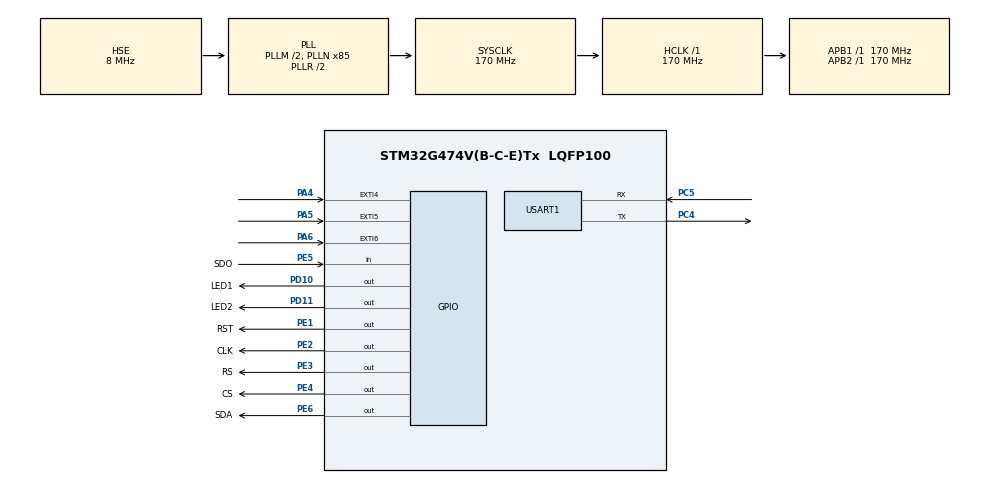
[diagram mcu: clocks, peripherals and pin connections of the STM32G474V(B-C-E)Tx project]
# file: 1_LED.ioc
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Dma.Request0=USART1_RX
Dma.Request1=USART1_TX
Dma.USART1_RX.0.Direction=DMA_PERIPH_TO_MEMORY
Dma.USART1_RX.0.EventEnable=DISABLE
Dma.USART1_RX.0.Instance=DMA1_Channel1
Dma.USART1_RX.0.MemDataAlignment=DMA_MDATAALIGN_BYTE
Dma.USART1_RX.0.MemInc=DMA_MINC_ENABLE
Dma.USART1_RX.0.Mode=DMA_CIRCULAR
Dma.USART1_RX.0.PeriphDataAlignment=DMA_PDATAALIGN_BYTE
Dma.USART1_RX.0.PeriphInc=DMA_PINC_DISABLE
Dma.USART1_RX.0.Polarity=HAL_DMAMUX_REQ_GEN_RISING
Dma.USART1_RX.0.Priority=DMA_PRIORITY_LOW
Dma.USART1_RX.0.RequestNumber=1
Dma.USART1_RX.0.SignalID=NONE
Dma.USART1_RX.0.SyncEnable=DISABLE
Dma.USART1_RX.0.SyncPolarity=HAL_DMAMUX_SYNC_NO_EVENT
Dma.USART1_RX.0.SyncRequestNumber=1
Dma.USART1_RX.0.SyncSignalID=NONE
Dma.USART1_TX.1.Direction=DMA_MEMORY_TO_PERIPH
Dma.USART1_TX.1.EventEnable=DISABLE
Dma.USART1_TX.1.Instance=DMA1_Channel2
Dma.USART1_TX.1.MemDataAlignment=DMA_MDATAALIGN_BYTE
Dma.USART1_TX.1.MemInc=DMA_MINC_ENABLE
Dma.USART1_TX.1.Mode=DMA_NORMAL
Dma.USART1_TX.1.PeriphDataAlignment=DMA_PDATAALIGN_BYTE
Dma.USART1_TX.1.PeriphInc=DMA_PINC_DISABLE
Dma.USART1_TX.1.Polarity=HAL_DMAMUX_REQ_GEN_RISING
Dma.USART1_TX.1.Priority=DMA_PRIORITY_LOW
Dma.USART1_TX.1.RequestNumber=1
Dma.USART1_TX.1.SignalID=NONE
Dma.USART1_TX.1.SyncEnable=DISABLE
Dma.USART1_TX.1.SyncPolarity=HAL_DMAMUX_SYNC_NO_EVENT
Dma.USART1_TX.1.SyncRequestNumber=1
Dma.USART1_TX.1.SyncSignalID=NONE
Mcu.Family=STM32G4
Mcu.Name=STM32G474V(B-C-E)Tx
Mcu.Package=LQFP100
NVIC.DMA1_Channel1_IRQn=true\:0\:0\:false\:false\:true\:true\:true\:true
NVIC.DMA1_Channel2_IRQn=true\:0\:0\:false\:false\:true\:true\:true\:true
NVIC.EXTI4_IRQn=true\:0\:0\:false\:false\:true\:true\:true\:true
NVIC.EXTI9_5_IRQn=true\:0\:0\:false\:false\:true\:true\:true\:true
NVIC.PriorityGroup=NVIC_PRIORITYGROUP_2
NVIC.USART1_IRQn=true\:0\:0\:false\:false\:true\:true\:true\:true
PA13.Mode=Serial_Wire
PA13.Signal=SYS_JTMS-SWDIO
PA14.Mode=Serial_Wire
PA14.Signal=SYS_JTCK-SWCLK
PA4.GPIO_ModeDefaultEXTI=GPIO_MODE_IT_FALLING
PA4.GPIO_PuPd=GPIO_PULLUP
PA4.Signal=GPXTI4
PA5.GPIO_ModeDefaultEXTI=GPIO_MODE_IT_FALLING
PA5.GPIO_PuPd=GPIO_PULLUP
PA5.Signal=GPXTI5
PA6.GPIO_ModeDefaultEXTI=GPIO_MODE_IT_FALLING
PA6.GPIO_PuPd=GPIO_PULLUP
PA6.Signal=GPXTI6
PC4.Mode=Asynchronous
PC4.Signal=USART1_TX
PC5.Mode=Asynchronous
PC5.Signal=USART1_RX
PD10.GPIO_Label=LED1
PD10.Signal=GPIO_Output
PD11.GPIO_Label=LED2
PD11.Signal=GPIO_Output
PE1.GPIO_Label=RST
PE1.Signal=GPIO_Output
PE2.GPIO_Label=CLK
PE2.GPIO_Speed=GPIO_SPEED_FREQ_VERY_HIGH
PE2.Signal=GPIO_Output
PE3.GPIO_Label=RS
PE3.Signal=GPIO_Output
PE4.GPIO_Label=CS
PE4.GPIO_PuPd=GPIO_PULLUP
PE4.GPIO_Speed=GPIO_SPEED_FREQ_HIGH
PE4.PinState=GPIO_PIN_SET
PE4.Signal=GPIO_Output
PE5.GPIO_Label=SDO
PE5.Signal=GPIO_Input
PE6.GPIO_Label=SDA
PE6.GPIO_Speed=GPIO_SPEED_FREQ_VERY_HIGH
PE6.Signal=GPIO_Output
PF0-OSC_IN.Mode=HSE-External-Oscillator
PF0-OSC_IN.Signal=RCC_OSC_IN
PF1-OSC_OUT.Mode=HSE-External-Oscillator
PF1-OSC_OUT.Signal=RCC_OSC_OUT
ProjectManager.HeapSize=0x200
ProjectManager.StackSize=0x400
ProjectManager.TargetToolchain=MDK-ARM V5.32
RCC.ADC12Freq_Value=170000000
RCC.ADC345Freq_Value=170000000
RCC.AHBFreq_Value=170000000
RCC.APB1Freq_Value=170000000
RCC.APB1TimFreq_Value=170000000
RCC.APB2Freq_Value=170000000
RCC.APB2TimFreq_Value=170000000
RCC.CortexFreq_Value=170000000
RCC.EXTERNAL_CLOCK_VALUE=12288000
RCC.HCLKFreq_Value=170000000
RCC.HSE_VALUE=8000000
RCC.HSI48_VALUE=48000000
RCC.HSI_VALUE=16000000
RCC.LSE_VALUE=32768
RCC.PLLM=RCC_PLLM_DIV2
RCC.PLLN=85
RCC.PLLSourceVirtual=RCC_PLLSOURCE_HSE
RCC.SYSCLKFreq_VALUE=170000000
RCC.SYSCLKSource=RCC_SYSCLKSOURCE_PLLCLK
RCC.USBFreq_Value=170000000
RCC.VCOOutputFreq_Value=340000000
USART1.VirtualMode-Asynchronous=VM_ASYNC
VP_SYS_VS_DBSignals.Mode=DisableDeadBatterySignals
board=custom

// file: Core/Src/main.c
/* USER CODE BEGIN Header */
/**
  ******************************************************************************
  * @file           : main.c
  * @brief          : Main program body
  ******************************************************************************
  * @attention
  *
  * Copyright (c) 2024 STMicroelectronics.
  * All rights reserved.
  *
  * This software is licensed under terms that can be found in the LICENSE file
  * in the root directory of this software component.
  * If no LICENSE file comes with this software, it is provided AS-IS.
  *
  ******************************************************************************
  */
/* USER CODE END Header */
#include "main.h"
#include "dma.h"
#include "usart.h"
#include "dma.h"
#include "gpio.h"
/* USER CODE BEGIN Includes */
#include "LED.h"
#include "LCD.h"
//#include "key.h"
#include "math.h"
#include "insect.h"
#include "stdio.h"
#include "string.h"

/* USER CODE END Includes */

void SystemClock_Config(void);

/* USER CODE BEGIN 0 */

// 全局变量
uint8_t mode = 0;
uint8_t receivedData[50];
uint8_t sendData[50];
uint8_t UART_temp1[5]="A55A0";
uint8_t UART_temp2[11], UART_temp3[5];
int sign = 1;
// 初始化函数

void SystemClock_Config(void);
void MX_GPIO_Init(void);
void MX_DMA_Init(void);
void MX_USART1_UART_Init(void);
void MX_LCD_Init(void);

typedef enum {
    NONE,
    KEY1,
    KEY2,
    KEY3
} KeyPress_t;

volatile KeyPress_t currentKeyPress = NONE;

// 按键中断处理函数
void HAL_GPIO_EXTI_Callback(uint16_t GPIO_Pin)
{

}
uint8_t UART_temp;
uint8_t uart_dma_temp_rx[19];
uint8_t uart_dma_temp_tx[38];

/* USER CODE END 0 */

int main(void)
{  /* USER CODE BEGIN 1 */

	 /* USER CODE END 1 */

  /* MCU Configuration--------------------------------------------------------*/

  /* Reset of all peripherals, Initializes the Flash interface and the Systick. */
  HAL_Init();

  /* Configure the system clock */
  SystemClock_Config();

  /* Initialize all configured peripherals */
  MX_GPIO_Init();
  MX_DMA_Init();
  MX_USART1_UART_Init();
  /* USER CODE BEGIN 2 */
	HAL_UART_Receive(&huart1,UART_temp1,255,1);
	LCD_Initial();
	Lcd_ColorBox(0,0,XSIZE_PHYS,YSIZE_PHYS,Blue);
	Lcd_ColorBox(0,0,XSIZE_PHYS,YSIZE_PHYS,Red);
	BlockWrite(0,400,0,400);

	int i,j;
	const unsigned char*  pic;
	int x = 0;
	int y = 0; //guang biao bian liang
	int num=0;
	unsigned char key_value;
	uint8_t receivedData = 0;

	//8.menu
	Lcd_ColorBox(0,0,XSIZE_PHYS,YSIZE_PHYS,White);
	HAL_Delay(200);

   // 显示功能界面1
	LCD_PutString(30,60,"system of chuankou tongxin",Red,White,0 );
	LCD_PutString(30,90,"liu fenyi 20221071001",Red,White,0 );
	LCD_PutString(30,130,"ma xinyu 20221071001",Red,White,0 );
	LCD_PutString(30,170,"yu changjiang 20221071001",Red,White,0 );
  LCD_PutString(70,220,"mode 0",Red,White,0 );

  /* USER CODE END 2 */

  /* Infinite loop */
  /* USER CODE BEGIN WHILE */

 while (1)     //大while
 {
		// 主循环，根据按键和串口接收的数据进行不同的操作
        // 这里省略具体的实现逻辑
	 int num=0;
	if (HAL_GPIO_ReadPin(GPIOA,GPIO_PIN_4) == 0) // 按键1,进行模式循环切换，分别为模式0123，
    {
							Lcd_ColorBox(0,0,XSIZE_PHYS,YSIZE_PHYS,White);
        mode = (mode + 1) % 4;
        switch (mode)
        {
        case 0:
						LED_ALL_OFF();
				    LCD_PutString(50,60,"mode 0",Red,White,0 );
            break;
        case 1:
					LED_red_ON();
				    LCD_PutString(50,80,"mode 1",Red,White,0 );
            HAL_UART_Transmit(&huart1, (uint8_t *)"KEY1 Press!\n", 12, HAL_MAX_DELAY);
            sprintf((char *)sendData, "A55A20221071001A5A5");
            HAL_UART_Transmit(&huart1, sendData, strlen((char *)sendData), HAL_MAX_DELAY);
            break;
        case 2:
					LED_green_ON();
				    LCD_PutString(50,100,"mode 2",Red,White,0 );
            HAL_UART_Transmit(&huart1, (uint8_t *)"KEY2 Press!\n", 12, HAL_MAX_DELAY);
            sprintf((char *)sendData, "A55A20221071002A5A5");
            HAL_UART_Transmit(&huart1, sendData, strlen((char *)sendData), HAL_MAX_DELAY);
            break;
        case 3:
					LED_ALL_ON();
            LCD_PutString(50,120,"mode 3",Red,White,0 );
				HAL_UART_Transmit(&huart1, (uint8_t *)"KEY3 Press!\n", 12, HAL_MAX_DELAY);
            sprintf((char *)sendData, "A55A20221071003A5A5");
            HAL_UART_Transmit(&huart1, sendData, strlen((char *)sendData), HAL_MAX_DELAY);
            break;
        }
    }
    else if (HAL_GPIO_ReadPin(GPIOA,GPIO_PIN_5) == 0) // 按键2
    {
			uint8_t a_1[12] = "KEY1 Press!", b_1[22] = "A55A 20221071116 A5A5",
	    a_2[12] = "KEY2 Press!", b_2[22] = "A55A 20221071117 A5A5",
	    a_3[12] = "KEY3 Press!", b_3[22] = "A55A 20221071222 A5A5",
	    d[19] = "Data Format Error!",
	    num_1[11] = "20221071116", num_2[11] = "20221071117", num_3[11] = "20221071222",
	    num_4[5] = "A55AA";
        // 切换到功能界面2
			Lcd_ColorBox(0,0,XSIZE_PHYS,YSIZE_PHYS,White);
			LCD_PutString(50,120,"system of chuankou tongxin",Red,White,0 );
			LCD_PutString(50,140,"Receiving data...",Red,White,0 );
			while(1)
			{

        //LCD_DisplayStringLine(0, "串口通信系统");

				if(HAL_UART_Receive(&huart1,UART_temp1,5,1) == HAL_OK)
		{

			HAL_UART_Receive(&huart1,UART_temp2,11,1);
			HAL_UART_Receive(&huart1,UART_temp3,5,1);
			Lcd_ColorBox(0, 0, 240, 320, White);

			if(memcmp(UART_temp2, num_1, 11) == 0)
			{
				HAL_UART_Transmit(&huart1,UART_temp2,11,1);
				Lcd_ColorBox(0,0,XSIZE_PHYS,YSIZE_PHYS,White);
	      LCD_PutString(50,60,"Liu Fenyi",Red,White,0);
	      LCD_PutString(50,100,"20221071116",Red,White,0);
				//	LCD_Fill_Pic(50,130,120,120, piclfy);

			}
			else if(memcmp(UART_temp2, num_2, 11) == 0)
			{
				HAL_UART_Transmit(&huart1,UART_temp2,11,1);
				Lcd_ColorBox(0,0,XSIZE_PHYS,YSIZE_PHYS,White);
		    LCD_PutString(50,60,"Ma Xinyu",Red,White,0);
				//		LCD_Fill_Pic(50,130,120,120, picmxy);
		    LCD_PutString(50,100,"20221071117",Red,White,0);
			}
			else if(memcmp(UART_temp2, num_3, 11) == 0)
			{
				HAL_UART_Transmit(&huart1,UART_temp2,11,1);
				Lcd_ColorBox(0,0,XSIZE_PHYS,YSIZE_PHYS,White);
		    LCD_PutString(50,45,"Yu Changjiang",Red,White,0);
		    LCD_PutString(50,60,"20221071222",Red,White,0);
								//		LCD_Fill_Pic(50,130,120,120, picycj);//转换界面效果
			}
			else if(memcmp(UART_temp1, num_4, 5) == 0)
			{
 // 显示功能界面1
	LCD_PutString(30,60,"system of chuankou tongxin",Red,White,0 );
	LCD_PutString(30,90,"liu fenyi 20221071001",Red,White,0 );
	LCD_PutString(30,130,"ma xinyu 20221071001",Red,White,0 );
	LCD_PutString(30,170,"yu changjiang 20221071001",Red,White,0 );
  LCD_PutString(70,220,"mode 0",Red,White,0 );
				break;
			}
			else
			{
				HAL_UART_Transmit(&huart1,UART_temp1,5,1);
				HAL_UART_Transmit(&huart1,UART_temp2,11,1);
				HAL_UART_Transmit(&huart1,UART_temp3,5,1);
				HAL_Delay(500);
				HAL_UART_Transmit(&huart1,d,18,1);
				HAL_Delay(500);
				Lcd_ColorBox(0,0,XSIZE_PHYS,YSIZE_PHYS,White);
			  LCD_PutString(50,120,"system of chuankou tongxin",Red,White,0 );
			  LCD_PutString(50,140,"Receiving data...",Red,White,0 );
			}
			HAL_UART_Receive(&huart1,UART_temp1,255,1);
			}
    }
	}

		else if (HAL_GPIO_ReadPin(GPIOA,GPIO_PIN_6) == 0) // 按键3
    {
        // 切换到功能界面4
        // 这里省略具体的实现逻辑

		while (1)     //大while
    {
		// 主循环，根据按键和串口接收的数据进行不同的操作
        // 这里省略具体的实现逻辑

        if (mode == 1) {
					  Lcd_ColorBox(0,0,XSIZE_PHYS,YSIZE_PHYS,White);
            //LCD_PutString(20,20,"A",Red,White,0);
						LCD_Fill_Pic(20,20,120,120, picA);
					while(1)
					{
						uint8_t receivedData = 9;
						HAL_UART_Receive(&huart1, &receivedData, 1, HAL_MAX_DELAY);
            if (receivedData == 0x02&&num==0)
							{
								num=num+1;
								 Lcd_ColorBox(0,0,XSIZE_PHYS,YSIZE_PHYS,White);
								LCD_Fill_Pic(20,20,120,120, pic2);
								break;
						  }
					 }

					 while(1)
					{
						uint8_t receivedData = 9;
						HAL_UART_Receive(&huart1, &receivedData, 1, HAL_MAX_DELAY);
            if (receivedData == 0x00&&num==1)
							{
								num=num+1;
								 Lcd_ColorBox(0,0,XSIZE_PHYS,YSIZE_PHYS,White);
								LCD_Fill_Pic(20,20,120,120, pic0);
								break;
						  }
					 }

					 while(1)
					{
						uint8_t receivedData = 9;
						HAL_UART_Receive(&huart1, &receivedData, 1, HAL_MAX_DELAY);
            if (receivedData == 0x02&&num==2)
							{
								num=num+1;
								 Lcd_ColorBox(0,0,XSIZE_PHYS,YSIZE_PHYS,White);
								LCD_Fill_Pic(20,20,120,120, pic2);
								break;
						  }
					 }

					 while(1)
					{
						uint8_t receivedData = 9;
						HAL_UART_Receive(&huart1, &receivedData, 1, HAL_MAX_DELAY);
            if (receivedData == 0x02&&num==3)
							{
								num=num+1;
								 Lcd_ColorBox(0,0,XSIZE_PHYS,YSIZE_PHYS,White);
								LCD_Fill_Pic(20,20,120,120, pic2);
								break;
						  }
					 }

					 while(1)
					{
						uint8_t receivedData = 9;
						HAL_UART_Receive(&huart1, &receivedData, 1, HAL_MAX_DELAY);
            if (receivedData == 0x01&&num==4)
							{
								num=num+1;
								 Lcd_ColorBox(0,0,XSIZE_PHYS,YSIZE_PHYS,White);
								LCD_Fill_Pic(20,20,120,120, pic1);
								break;
						  }
					 }

					 while(1)
					{
						uint8_t receivedData = 9;
						HAL_UART_Receive(&huart1, &receivedData, 1, HAL_MAX_DELAY);
            if (receivedData == 0x00&&num==5)
							{
								num=num+1;
								 Lcd_ColorBox(0,0,XSIZE_PHYS,YSIZE_PHYS,White);
								LCD_Fill_Pic(20,20,120,120, pic0);
								break;
						  }
					 }

					 while(1)
					{
						uint8_t receivedData = 9;
						HAL_UART_Receive(&huart1, &receivedData, 1, HAL_MAX_DELAY);
            if (receivedData == 0x07&&num==6)
							{
								num=num+1;
								 Lcd_ColorBox(0,0,XSIZE_PHYS,YSIZE_PHYS,White);
								LCD_Fill_Pic(20,20,120,120, pic7);
								break;
						  }
					 }

					 while(1)
					{
						uint8_t receivedData = 9;
						HAL_UART_Receive(&huart1, &receivedData, 1, HAL_MAX_DELAY);
            if (receivedData == 0x01&&num==7)
							{
								num=num+1;
								 Lcd_ColorBox(0,0,XSIZE_PHYS,YSIZE_PHYS,White);
								LCD_Fill_Pic(20,20,120,120, pic1);
								break;
						  }
					 }

					 while(1)
					{
						uint8_t receivedData = 9;
						HAL_UART_Receive(&huart1, &receivedData, 1, HAL_MAX_DELAY);
            if (receivedData == 0x01&&num==8)
							{
								num=num+1;
								 Lcd_ColorBox(0,0,XSIZE_PHYS,YSIZE_PHYS,White);
								LCD_Fill_Pic(20,20,120,120, pic1);
								break;
						  }
					 }

					 while(1)
					{
						uint8_t receivedData = 9;
						HAL_UART_Receive(&huart1, &receivedData, 1, HAL_MAX_DELAY);
            if (receivedData == 0x01&&num==9)
							{
								num=num+1;
								 Lcd_ColorBox(0,0,XSIZE_PHYS,YSIZE_PHYS,White);
								LCD_Fill_Pic(20,20,120,120, pic1);
								break;
						  }
					 }

					 while(1)
					{
						uint8_t receivedData = 9;
						HAL_UART_Receive(&huart1, &receivedData, 1, HAL_MAX_DELAY);
            if (receivedData == 0x06&&num==10)
							{
								num=num+1;
								 Lcd_ColorBox(0,0,XSIZE_PHYS,YSIZE_PHYS,White);
								LCD_Fill_Pic(20,20,120,120, pic6);
								break;
						  }
					 }
					if(num==11)
					{
						 Lcd_ColorBox(0,0,XSIZE_PHYS,YSIZE_PHYS,White);
						//gongnengzhanshi
							Lcd_ColorBox(0,0,XSIZE_PHYS,YSIZE_PHYS,White);
							LCD_PutString(50,60,"Liu Fenyi",Red,White,0);
							LCD_PutString(50,100,"20221071116",Red,White,0);
							LCD_Fill_Pic(50,130,120,120, piclfy);
							mode=0;
						num=0;
							HAL_Delay(500);
					}

				}

				//展示马新宇的信息
        if (mode == 2) {
					  Lcd_ColorBox(0,0,XSIZE_PHYS,YSIZE_PHYS,White);
						LCD_Fill_Pic(20,20,120,120, picB);
					while(1)
					{
						uint8_t receivedData = 9;
						HAL_UART_Receive(&huart1, &receivedData, 1, HAL_MAX_DELAY);
            if (receivedData == 0x02&&num==0)
							{
								num=num+1;
								 Lcd_ColorBox(0,0,XSIZE_PHYS,YSIZE_PHYS,White);
								LCD_Fill_Pic(20,20,120,120, pic2);
								break;
						  }
					 }

					 while(1)
					{
						uint8_t receivedData = 9;
						HAL_UART_Receive(&huart1, &receivedData, 1, HAL_MAX_DELAY);
            if (receivedData == 0x00&&num==1)
							{
								num=num+1;
								 Lcd_ColorBox(0,0,XSIZE_PHYS,YSIZE_PHYS,White);
								LCD_Fill_Pic(20,20,120,120, pic0);
								break;
						  }
					 }

					 while(1)
					{
						uint8_t receivedData = 9;
						HAL_UART_Receive(&huart1, &receivedData, 1, HAL_MAX_DELAY);
            if (receivedData == 0x02&&num==2)
							{
								num=num+1;
								 Lcd_ColorBox(0,0,XSIZE_PHYS,YSIZE_PHYS,White);
								LCD_Fill_Pic(20,20,120,120, pic2);
								break;
						  }
					 }

					 while(1)
					{
						uint8_t receivedData = 9;
						HAL_UART_Receive(&huart1, &receivedData, 1, HAL_MAX_DELAY);
            if (receivedData == 0x02&&num==3)
							{
								num=num+1;
								 Lcd_ColorBox(0,0,XSIZE_PHYS,YSIZE_PHYS,White);
								LCD_Fill_Pic(20,20,120,120, pic2);
								break;
						  }
					 }

					 while(1)
					{
						uint8_t receivedData = 9;
						HAL_UART_Receive(&huart1, &receivedData, 1, HAL_MAX_DELAY);
            if (receivedData == 0x01&&num==4)
							{
								num=num+1;
								 Lcd_ColorBox(0,0,XSIZE_PHYS,YSIZE_PHYS,White);
								LCD_Fill_Pic(20,20,120,120, pic1);
								break;
						  }
					 }

					 while(1)
					{
						uint8_t receivedData = 9;
						HAL_UART_Receive(&huart1, &receivedData, 1, HAL_MAX_DELAY);
            if (receivedData == 0x00&&num==5)
							{
								num=num+1;
								 Lcd_ColorBox(0,0,XSIZE_PHYS,YSIZE_PHYS,White);
								LCD_Fill_Pic(20,20,120,120, pic0);
								break;
						  }
					 }

					 while(1)
					{
						uint8_t receivedData = 9;
						HAL_UART_Receive(&huart1, &receivedData, 1, HAL_MAX_DELAY);
            if (receivedData == 0x07&&num==6)
							{
								num=num+1;
								 Lcd_ColorBox(0,0,XSIZE_PHYS,YSIZE_PHYS,White);
								LCD_Fill_Pic(20,20,120,120, pic7);
								break;
						  }
					 }

					 while(1)
					{
						uint8_t receivedData = 9;
						HAL_UART_Receive(&huart1, &receivedData, 1, HAL_MAX_DELAY);
            if (receivedData == 0x01&&num==7)
							{
								num=num+1;
								 Lcd_ColorBox(0,0,XSIZE_PHYS,YSIZE_PHYS,White);
								LCD_Fill_Pic(20,20,120,120, pic1);
								break;
						  }
					 }

					 while(1)
					{
						uint8_t receivedData = 9;
						HAL_UART_Receive(&huart1, &receivedData, 1, HAL_MAX_DELAY);
            if (receivedData == 0x01&&num==8)
							{
								num=num+1;
								 Lcd_ColorBox(0,0,XSIZE_PHYS,YSIZE_PHYS,White);
								LCD_Fill_Pic(20,20,120,120, pic1);
								break;
						  }
					 }

					 while(1)
					{
						uint8_t receivedData = 9;
						HAL_UART_Receive(&huart1, &receivedData, 1, HAL_MAX_DELAY);
            if (receivedData == 0x01&&num==9)
							{
								num=num+1;
								 Lcd_ColorBox(0,0,XSIZE_PHYS,YSIZE_PHYS,White);
								LCD_Fill_Pic(20,20,120,120, pic1);
								break;
						  }
					 }

					 while(1)
					{
						uint8_t receivedData = 9;
						HAL_UART_Receive(&huart1, &receivedData, 1, HAL_MAX_DELAY);
            if (receivedData == 0x07&&num==10)
							{
								num=num+1;
								 Lcd_ColorBox(0,0,XSIZE_PHYS,YSIZE_PHYS,White);
								LCD_Fill_Pic(20,20,120,120, pic7);
								break;
						  }
					 }
					if(num==11)
					{
						 Lcd_ColorBox(0,0,XSIZE_PHYS,YSIZE_PHYS,White);
						//gongnengzhanshi
							Lcd_ColorBox(0,0,XSIZE_PHYS,YSIZE_PHYS,White);
							LCD_PutString(50,60,"MA Xinyu",Red,White,0);
							LCD_PutString(50,100,"20221071117",Red,White,0);
							LCD_Fill_Pic(50,130,120,120, picmxy);
							mode=0;
						num = 0;
							HAL_Delay(500);
					}

				}

				//展示于长江的信息
        if (mode == 3) {
					  Lcd_ColorBox(0,0,XSIZE_PHYS,YSIZE_PHYS,White);
            //LCD_PutString(20,20,"A",Red,White,0);
						LCD_Fill_Pic(20,20,120,120, picC);
					while(1)
					{
						uint8_t receivedData = 9;
						HAL_UART_Receive(&huart1, &receivedData, 1, HAL_MAX_DELAY);
            if (receivedData == 0x02&&num==0)
							{
								num=num+1;
								 Lcd_ColorBox(0,0,XSIZE_PHYS,YSIZE_PHYS,White);
								LCD_Fill_Pic(20,20,120,120, pic2);
								break;
						  }
					 }

					 while(1)
					{
						uint8_t receivedData = 9;
						HAL_UART_Receive(&huart1, &receivedData, 1, HAL_MAX_DELAY);
            if (receivedData == 0x00&&num==1)
							{
								num=num+1;
								 Lcd_ColorBox(0,0,XSIZE_PHYS,YSIZE_PHYS,White);
								LCD_Fill_Pic(20,20,120,120, pic0);
								break;
						  }
					 }

					 while(1)
					{
						uint8_t receivedData = 9;
						HAL_UART_Receive(&huart1, &receivedData, 1, HAL_MAX_DELAY);
            if (receivedData == 0x02&&num==2)
							{
								num=num+1;
								 Lcd_ColorBox(0,0,XSIZE_PHYS,YSIZE_PHYS,White);
								LCD_Fill_Pic(20,20,120,120, pic2);
								break;
						  }
					 }

					 while(1)
					{
						uint8_t receivedData = 9;
						HAL_UART_Receive(&huart1, &receivedData, 1, HAL_MAX_DELAY);
            if (receivedData == 0x02&&num==3)
							{
								num=num+1;
								 Lcd_ColorBox(0,0,XSIZE_PHYS,YSIZE_PHYS,White);
								LCD_Fill_Pic(20,20,120,120, pic2);
								break;
						  }
					 }

					 while(1)
					{
						uint8_t receivedData = 9;
						HAL_UART_Receive(&huart1, &receivedData, 1, HAL_MAX_DELAY);
            if (receivedData == 0x01&&num==4)
							{
								num=num+1;
								 Lcd_ColorBox(0,0,XSIZE_PHYS,YSIZE_PHYS,White);
								LCD_Fill_Pic(20,20,120,120, pic1);
								break;
						  }
					 }

					 while(1)
					{
						uint8_t receivedData = 9;
						HAL_UART_Receive(&huart1, &receivedData, 1, HAL_MAX_DELAY);
            if (receivedData == 0x00&&num==5)
							{
								num=num+1;
								 Lcd_ColorBox(0,0,XSIZE_PHYS,YSIZE_PHYS,White);
								LCD_Fill_Pic(20,20,120,120, pic0);
								break;
						  }
					 }

					 while(1)
					{
						uint8_t receivedData = 9;
						HAL_UART_Receive(&huart1, &receivedData, 1, HAL_MAX_DELAY);
            if (receivedData == 0x07&&num==6)
							{
								num=num+1;
								 Lcd_ColorBox(0,0,XSIZE_PHYS,YSIZE_PHYS,White);
								LCD_Fill_Pic(20,20,120,120, pic7);
								break;
						  }
					 }

					 while(1)
					{
						uint8_t receivedData = 9;
						HAL_UART_Receive(&huart1, &receivedData, 1, HAL_MAX_DELAY);
            if (receivedData == 0x01&&num==7)
							{
								num=num+1;
								 Lcd_ColorBox(0,0,XSIZE_PHYS,YSIZE_PHYS,White);
								LCD_Fill_Pic(20,20,120,120, pic1);
								break;
						  }
					 }

					 while(1)
					{
						uint8_t receivedData = 9;
						HAL_UART_Receive(&huart1, &receivedData, 1, HAL_MAX_DELAY);
            if (receivedData == 0x02&&num==8)
							{
								num=num+1;
								 Lcd_ColorBox(0,0,XSIZE_PHYS,YSIZE_PHYS,White);
								LCD_Fill_Pic(20,20,120,120, pic2);
								break;
						  }
					 }

					 while(1)
					{
						uint8_t receivedData = 9;
						HAL_UART_Receive(&huart1, &receivedData, 1, HAL_MAX_DELAY);
            if (receivedData == 0x02&&num==9)
							{
								num=num+1;
								 Lcd_ColorBox(0,0,XSIZE_PHYS,YSIZE_PHYS,White);
								LCD_Fill_Pic(20,20,120,120, pic2);
								break;
						  }
					 }

					 while(1)
					{
						uint8_t receivedData = 9;
						HAL_UART_Receive(&huart1, &receivedData, 1, HAL_MAX_DELAY);
            if (receivedData == 0x02&&num==10)
							{
								num=num+1;
								 Lcd_ColorBox(0,0,XSIZE_PHYS,YSIZE_PHYS,White);
								LCD_Fill_Pic(20,20,120,120, pic2);
								break;
						  }
					 }
					if(num==11)
					{
						 Lcd_ColorBox(0,0,XSIZE_PHYS,YSIZE_PHYS,White);
						//gongnengzhanshi
							Lcd_ColorBox(0,0,XSIZE_PHYS,YSIZE_PHYS,White);
							LCD_PutString(50,60,"YU changjiang",Red,White,0);
							LCD_PutString(50,100,"20221071222",Red,White,0);
							LCD_Fill_Pic(50,130,120,120, picycj);
						num=0;
							mode=0;
							HAL_Delay(500);
					}

				}

				break;
			}
		}

   // 模式2和模式3处理类似
        // 模式2和模式3处理类似

  /* USER CODE END 3 */
 }
 }

void SystemClock_Config(void)
{
  RCC_OscInitTypeDef RCC_OscInitStruct = {0};
  RCC_ClkInitTypeDef RCC_ClkInitStruct = {0};

  /** Configure the main internal regulator output voltage
  */
  HAL_PWREx_ControlVoltageScaling(PWR_REGULATOR_VOLTAGE_SCALE1_BOOST);

  /** Initializes the RCC Oscillators according to the specified parameters
  * in the RCC_OscInitTypeDef structure.
  */
  RCC_OscInitStruct.OscillatorType = RCC_OSCILLATORTYPE_HSE;
  RCC_OscInitStruct.HSEState = RCC_HSE_ON;
  RCC_OscInitStruct.PLL.PLLState = RCC_PLL_ON;
  RCC_OscInitStruct.PLL.PLLSource = RCC_PLLSOURCE_HSE;
  RCC_OscInitStruct.PLL.PLLM = RCC_PLLM_DIV2;
  RCC_OscInitStruct.PLL.PLLN = 85;
  RCC_OscInitStruct.PLL.PLLP = RCC_PLLP_DIV2;
  RCC_OscInitStruct.PLL.PLLQ = RCC_PLLQ_DIV2;
  RCC_OscInitStruct.PLL.PLLR = RCC_PLLR_DIV2;
  if (HAL_RCC_OscConfig(&RCC_OscInitStruct) != HAL_OK)
  {
    Error_Handler();
  }

  /** Initializes the CPU, AHB and APB buses clocks
  */
  RCC_ClkInitStruct.ClockType = RCC_CLOCKTYPE_HCLK|RCC_CLOCKTYPE_SYSCLK
                              |RCC_CLOCKTYPE_PCLK1|RCC_CLOCKTYPE_PCLK2;
  RCC_ClkInitStruct.SYSCLKSource = RCC_SYSCLKSOURCE_PLLCLK;
  RCC_ClkInitStruct.AHBCLKDivider = RCC_SYSCLK_DIV1;
  RCC_ClkInitStruct.APB1CLKDivider = RCC_HCLK_DIV1;
  RCC_ClkInitStruct.APB2CLKDivider = RCC_HCLK_DIV1;

  if (HAL_RCC_ClockConfig(&RCC_ClkInitStruct, FLASH_LATENCY_4) != HAL_OK)
  {
    Error_Handler();
  }
}

/* USER CODE BEGIN 4 */
//外部中断处理
// 串口接收中断处理函数
/*
void HAL_UART_RxCpltCallback(UART_HandleTypeDef *huart)
{
	if (huart->Instance == USART1)
    {
        if (strncmp((char *)receivedData, "A55A", 4) == 0 && strncmp((char *)(receivedData + 14), "A5A5", 4) == 0)
        {
            // 收到正确数据
            //LCD_Clear();
						Lcd_ColorBox(0,0,XSIZE_PHYS,YSIZE_PHYS,White);
							LCD_PutString(50,200,"收到正确数据",Red,White,0 );

					if (strncmp((char *)(receivedData + 4), "20221071001", 11) == 0)
            {
							LCD_PutString(50,200,"zhangsan",Red,White,0 );
            }
            else if (strncmp((char *)(receivedData + 4), "20221071002", 11) == 0)
            {
							LCD_PutString(50,200,"lisi",Red,White,0 );
            }
						else if (strncmp((char *)(receivedData + 4), "20221071003", 11) == 0)
            {
							LCD_PutString(50,200,"wangwu",Red,White,0 );
            }

            // 显示头像照片（这里假设有函数LCD_DisplayPhoto用于显示照片）
         //	LCD_Fill_Pic(50,130,120,120, picycj); // 需要根据实际情况调整照片
        }
        else
        {
            // 数据格式错误
            HAL_UART_Transmit(&huart1, receivedData, strlen((char *)receivedData), HAL_MAX_DELAY);
            HAL_UART_Transmit(&huart1, (uint8_t *)"Data Format Error!\n", 19, HAL_MAX_DELAY);
												LCD_PutString(50,200,"串口通信系统",Red,White,0 );
												LCD_PutString(50,200,"正在接收串口数据",Red,White,0 );

        }

        // 重新开启接收中断
        HAL_UART_Receive_DMA(&huart1, receivedData, sizeof(receivedData));
    }
}
*/

/*
	HAL_Delay(5);

	if(!HAL_GPIO_ReadPin(GPIOA,GPIO_PIN_4))
	{
	HAL_GPIO_TogglePin(LED1_GPIO_Port,LED1_Pin);
	while(!HAL_GPIO_ReadPin(GPIOA,GPIO_PIN_4));
	}
}
*/

/*
else if(GPIO_Pin==GPIO_PIN_5)
{

	if(!HAL_GPIO_ReadPin(GPIOA,GPIO_PIN_5))
	{
		HAL_Delay(5);
	HAL_GPIO_TogglePin(LED2_GPIO_Port,LED2_Pin);
		while(!HAL_GPIO_ReadPin(GPIOA,GPIO_PIN_5));
	}
}
}
*/
/*

*/
/* USER CODE END 4 */

void Error_Handler(void)
{
  __disable_irq();
  while (1)
  {
  }
}
